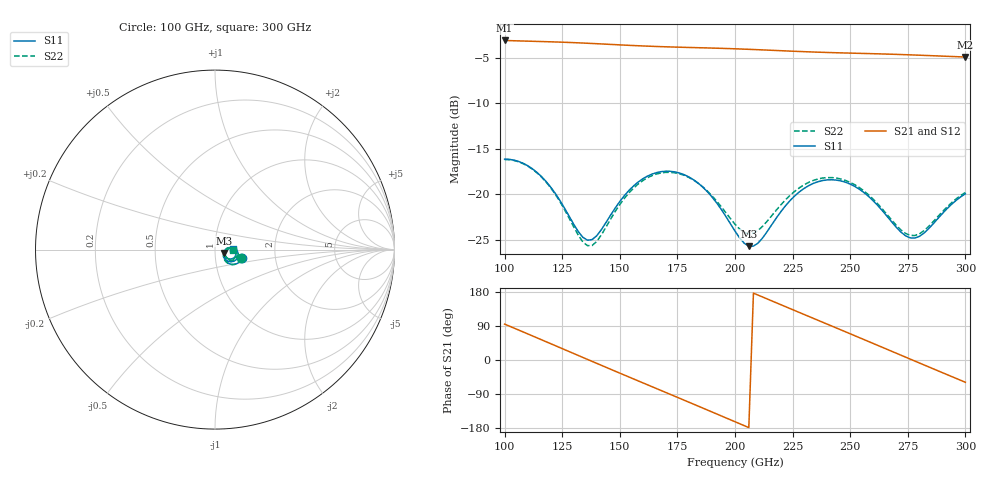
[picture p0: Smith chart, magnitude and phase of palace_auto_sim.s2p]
#  GHZ S DB R 50
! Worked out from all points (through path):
!   101 points, 100 GHz to 300 GHz, reference 50 ohm
!   highest |S21| = -3.12 dB at 100 GHz (marker M1); lowest = -4.9 dB at 300 GHz (marker M2)
!   group delay of S21, straight-line fit = 7.13 ps
!   lowest |S11| = -25.7 dB at 206 GHz (marker M3), VSWR 1.11, Z = 55.1 - j2 ohm
!   |S11| at or under -10 dB: start of sweep to end of sweep
!   |S22| runs from -25.7 to -16.2 dB; largest |S21 - S12| = 1.2e-13
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100  -16.15 -18.0  -3.12 94.7  -3.12 94.7  -16.19 -18.0
108  -16.61 -30.6  -3.18 74.1  -3.18 74.1  -16.64 -30.8
116  -18.07 -41.4  -3.24 53.4  -3.24 53.4  -18.12 -42.0
126  -21.53 -46.3  -3.32 27.5  -3.32 27.5  -21.69 -47.7
134  -24.74 -30.0  -3.40 6.7  -3.40 6.7  -25.25 -31.3
140  -24.56 -6.9  -3.48 -8.9  -3.48 -8.9  -25.19 -5.7
150  -20.80 6.0  -3.60 -34.7  -3.60 -34.7  -21.14 8.8
160  -18.31 -2.3  -3.72 -60.3  -3.72 -60.3  -18.51 0.7
168  -17.52 -13.4  -3.80 -80.7  -3.80 -80.7  -17.66 -10.2
182  -18.42 -33.5  -3.90 -116.5  -3.90 -116.5  -18.45 -29.2
192  -20.95 -42.6  -3.97 -142.2  -3.97 -142.2  -20.75 -36.7
200  -24.05 -37.9  -4.04 -162.9  -4.04 -162.9  -23.30 -31.2
206  -25.71 -20.5  -4.09 -178.4  -4.09 -178.4  -24.36 -16.6
218  -22.59 7.7  -4.22 150.8  -4.22 150.8  -21.73 4.7
234  -18.82 -3.5  -4.39 109.9  -4.39 109.9  -18.49 -6.1
242  -18.42 -14.2  -4.45 89.6  -4.45 89.6  -18.18 -16.3
250  -18.89 -24.6  -4.51 69.2  -4.51 69.2  -18.70 -26.3
268  -23.04 -32.6  -4.63 23.1  -4.63 23.1  -22.84 -33.6
274  -24.56 -22.5  -4.68 7.6  -4.68 7.6  -24.30 -23.6
280  -24.64 -7.3  -4.74 -7.8  -4.74 -7.8  -24.36 -8.8
290  -22.13 5.2  -4.84 -33.3  -4.84 -33.3  -21.93 3.3
300  -19.96 0.6  -4.94 -58.8  -4.94 -58.8  -19.82 -1.3
